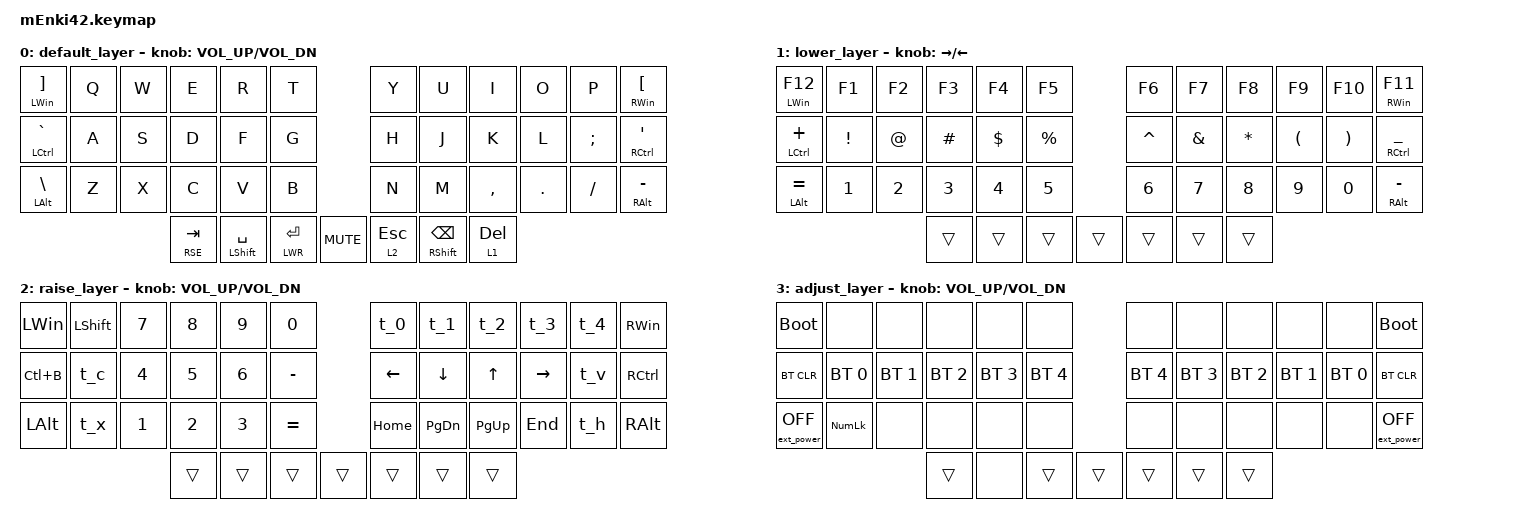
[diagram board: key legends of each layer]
/*
 * Copyright (c) 2020 The ZMK Contributors
 *
 * SPDX-License-Identifier: MIT
 */

#include <behaviors.dtsi>
#include <dt-bindings/zmk/bt.h>
#include <dt-bindings/zmk/ext_power.h>
#include <dt-bindings/zmk/keys.h>

#define DEF 0
#define LWR 1
#define RSE 2
#define ADJ 3

&lt { quick_tap_ms = <220>; };

&mt { quick_tap_ms = <220>; };

/ {
    behaviors {
        ht: ht {
            compatible = "zmk,behavior-hold-tap";
            label = "HT";
            bindings = <&kp>, <&kp>;

            #binding-cells = <2>;
            tapping-term-ms = <220>;
            quick-tap-ms = <220>;
            flavor = "tap-preferred";
        };
    };

    macros {
        t_0: t_1 {
            compatible = "zmk,behavior-macro";
            #binding-cells = <0>;
            bindings = <&kp LC(B) &kp N0>;
            label = "T_1";
        };

        t_1: t_2 {
            compatible = "zmk,behavior-macro";
            #binding-cells = <0>;
            bindings = <&kp LC(B) &kp N1>;
            label = "T_2";
        };

        t_2: t_3 {
            compatible = "zmk,behavior-macro";
            #binding-cells = <0>;
            bindings = <&kp LC(B) &kp N2>;
            label = "T_3";
        };

        t_3: t_4 {
            compatible = "zmk,behavior-macro";
            #binding-cells = <0>;
            bindings = <&kp LC(B) &kp N3>;
            label = "T_4";
        };

        t_4: t_5 {
            compatible = "zmk,behavior-macro";
            #binding-cells = <0>;
            bindings = <&kp LC(B) &kp N4>;
            label = "T_5";
        };

        t_c: t_c {
            compatible = "zmk,behavior-macro";
            #binding-cells = <0>;
            bindings = <&kp LC(B) &kp C>;
            label = "T_C";
        };

        t_x: t_x {
            compatible = "zmk,behavior-macro";
            #binding-cells = <0>;
            bindings = <&kp LC(B) &kp X &kp Y>;
            label = "T_X";
        };

        t_d: t_d {
            compatible = "zmk,behavior-macro";
            #binding-cells = <0>;
            bindings = <&kp LC(B) &kp D>;
            label = "T_D";
        };

        t_v: t_v {
            compatible = "zmk,behavior-macro";
            #binding-cells = <0>;
            bindings = <&kp LC(B) &kp PERCENT>;
            label = "T_V";
        };

        t_h: t_hh {
            compatible = "zmk,behavior-macro";
            #binding-cells = <0>;
            bindings = <&kp LC(B) &kp DOUBLE_QUOTES>;
            label = "T_HH";
        };
    };
};

/ {
    keymap {
        compatible = "zmk,keymap";

        default_layer {
            // ------------------------------------------------------------------------------------------------
            //| LGUI/] |  Q  |  W  |  E  |  R  |  T  |   |  Y  |  U   |  I  |  O  |  P  | RGUI/[ | 
            //| CTRL/` |  A  |  S  |  D  |  F  |  G  |   |  H  |  J   |  K  |  L  |  ;  | CTRL/' |
            //| LALT/\ |  Z  |  X  |  C  |  V  |  B  |   |  N  |  M   |  ,  |  .  |  /  | RALT/- |
            //                             | RSE | SPC | LWR |   | LWR | BKSP | RSE |

            bindings = <
&mt LWIN RBKT    &kp Q  &kp W  &kp E        &kp R            &kp T                    &kp Y      &kp U                &kp I         &kp O    &kp P     &ht RWIN LBKT
&mt LCTRL GRAVE  &kp A  &kp S  &kp D        &kp F            &kp G                    &kp H      &kp J                &kp K         &kp L    &kp SEMI  &ht RCTRL SQT
&mt LALT BSLH    &kp Z  &kp X  &kp C        &kp V            &kp B                    &kp N      &kp M                &kp COMMA     &kp DOT  &kp FSLH  &ht RALT MINUS
                               &lt RSE TAB  &ht LSHFT SPACE  &lt LWR RET  &kp C_MUTE  &lt 2 ESC  &ht RSHFT BACKSPACE  &lt 1 DELETE
            >;

            sensor-bindings = <&inc_dec_kp C_VOL_UP C_VOL_DN>;
        };

        lower_layer {
            // -----------------------------------------------------------------------------------------
            //|LGUI/CAPS |  *  |  7 |  8  |  9  |  +  |    |  !  |  @  |  #  |  $  |  %  | RGUI/F1 |
            //|CTRL/MENU |  /  |  4 |  5  |  6  |  -  |    |  ^  |  &  |  *  |  (  |  )  | CTRL/F2 |
            //|  LALT/=  |  0  |  1 |  4  |  3  |  .  |    |  ls |  F4 |  F5 |  F6 |  F7 | RALT/F3 |
            //                      | ADJ | ___ | ___ |    | ___ | ___ | ADJ |

            bindings = <
&ht LWIN F12    &kp F1    &kp F2       &kp F3    &kp F4      &kp F5               &kp F6     &kp F7         &kp F8        &kp F9                &kp F10                &ht RWIN F11
&ht LCTRL PLUS  &kp EXCL  &kp AT_SIGN  &kp HASH  &kp DOLLAR  &kp PERCENT          &kp CARET  &kp AMPERSAND  &kp ASTERISK  &kp LEFT_PARENTHESIS  &kp RIGHT_PARENTHESIS  &ht RCTRL UNDER
&ht LALT EQUAL  &kp N1    &kp N2       &kp N3    &kp N4      &kp N5               &kp N6     &kp N7         &kp N8        &kp N9                &kp N0                 &ht RALT MINUS
                                       &trans    &trans      &trans       &trans  &trans     &trans         &trans
            >;

            sensor-bindings = <&inc_dec_kp RIGHT LEFT>;
        };

        raise_layer {
            // -----------------------------------------------------------------------------------------
            //| LGUI |  VOLU  |  PGUP  | PLAY | HOME | ___  |            | ___  | HOME | PLAY| PGUP | VOLU | RGUI |
            //| CTRL |  VOLD  |  LEFT  |  UP  | DOWN | RGHT |            | RGHT | DOWN | UP  | LEFT | VOLD | CTRL | 
            //| LALT |  MUTE  |  PGDN  |  ___ | END  | ___  |            | ___  | END  | ___ | PGDN | MUTE | RALT |
            //                          | ___ | ___  | ADJ  |            | ADJ  | ___  | ___ |

            bindings = <
&kp LWIN   &kp LSHIFT  &kp N7  &kp N8  &kp N9  &kp N0             &t_0      &t_1       &t_2       &t_3       &t_4  &kp RWIN
&kp LC(B)  &t_c        &kp N4  &kp N5  &kp N6  &kp MINUS          &kp LEFT  &kp DOWN   &kp UP     &kp RIGHT  &t_v  &kp RCTRL
&kp LALT   &t_x        &kp N1  &kp N2  &kp N3  &kp EQUAL          &kp HOME  &kp PG_DN  &kp PG_UP  &kp END    &t_h  &kp RALT
                               &trans  &trans  &trans     &trans  &trans    &trans     &trans
            >;

            sensor-bindings = <&inc_dec_kp C_VOL_UP C_VOL_DN>;
        };

        adjust_layer {
            // -----------------------------------------------------------------------------------------
            //| BLDR |     |     |     |     |     |   |     |     |     |     |     | BLDR |
            //| BTCLR| BT0 | BT1 | BT2 | BT3 | BT4 |   | BT4 | BT3 | BT2 | BT1 | BT0 | BTCLR|
            //|pwrOFF|NUMLK|     |     |     |     |   |     |     |     |     |     |      |
            //                   |     |     |     |   |     |     |     |

            bindings = <
&bootloader        &none         &none         &none         &none         &none                 &none         &none         &none         &none         &none         &bootloader
&bt BT_CLR         &bt BT_SEL 0  &bt BT_SEL 1  &bt BT_SEL 2  &bt BT_SEL 3  &bt BT_SEL 4          &bt BT_SEL 4  &bt BT_SEL 3  &bt BT_SEL 2  &bt BT_SEL 1  &bt BT_SEL 0  &bt BT_CLR
&ext_power EP_OFF  &kp KP_NUM    &none         &none         &none         &none                 &none         &none         &none         &none         &none         &ext_power EP_OFF
                                               &trans        &none         &trans        &trans  &trans        &trans        &trans
            >;

            sensor-bindings = <&inc_dec_kp C_VOL_UP C_VOL_DN>;
        };
    };

    conditional_layers {
        compatible = "zmk,conditional-layers";

        adjust {
            if-layers = <1 2>;
            then-layer = <3>;
        };
    };
};
